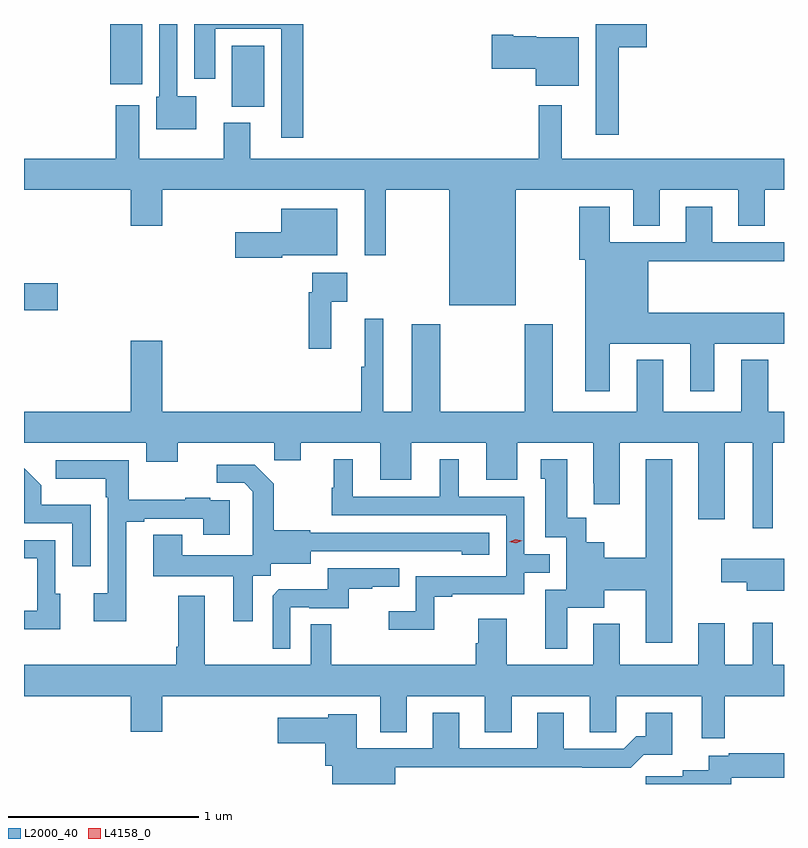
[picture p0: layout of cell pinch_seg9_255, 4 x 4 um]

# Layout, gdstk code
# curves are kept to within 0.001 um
import gdstk
lib = gdstk.Library(unit=1e-6, precision=1e-09)
def R(c, l, rs):  # rectangles x0, y0, x1, y1
    for r in rs: c.add(gdstk.rectangle(r[:2], r[2:], *l))
def P(c, l, *ps):  # polygons
    for p in ps: c.add(gdstk.Polygon(p, *l))
L2000_40 = (2000, 40)
L4158_0 = (4158, 0)

pinch_seg9_255 = lib.new_cell('pinch_seg9_255')
R(pinch_seg9_255, L2000_40, [(452.157,1213.103,452.335,1213.245), (453.251,1214.174,453.421,1214.494), (452.612,1214.291,452.779,1214.609)])
P(pinch_seg9_255, L2000_40, [(453.064,1214.23),(452.964,1214.23),(452.964,1214.609),(452.868,1214.609),(452.868,1214.226),(452.852,1214.226),(452.852,1214.054),(453.064,1214.054)],
  [(453.626,1214.609),(453.053,1214.609),(453.053,1214.322),(453.163,1214.322),(453.163,1214.583),(453.51,1214.583),(453.51,1214.01),(453.626,1214.01)],
  [(455.287,1214.486),(455.434,1214.486),(455.434,1214.609),(455.165,1214.609),(455.165,1214.025),(455.287,1214.025)],
  [(455.077,1214.539),(454.854,1214.539),(454.854,1214.545),(454.732,1214.545),(454.732,1214.552),(454.62,1214.552),(454.62,1214.374),(454.85,1214.374),(454.85,1214.285),(455.077,1214.285)],
  [(454.744,1213.736),(455.363,1213.736),(455.363,1213.546),(455.503,1213.546),(455.503,1213.736),(455.915,1213.736),(455.915,1213.546),(456.055,1213.546),(456.055,1213.736),(456.157,1213.736),(456.157,1213.9),(454.987,1213.9),(454.987,1214.182),(454.866,1214.182),(454.866,1213.9),(453.349,1213.9),(453.349,1214.089),(453.209,1214.089),(453.209,1213.9),(452.764,1213.9),(452.764,1214.182),(452.639,1214.182),(452.639,1213.9),(452.157,1213.9),(452.157,1213.736),(452.72,1213.736),(452.72,1213.548),(452.884,1213.548),(452.884,1213.736),(453.95,1213.736),(453.95,1213.392),(454.06,1213.392),(454.06,1213.736),(454.394,1213.736),(454.394,1213.13),(454.744,1213.13)],
  [(455.239,1212.926),(455.663,1212.926),(455.663,1212.675),(455.791,1212.675),(455.791,1212.926),(456.157,1212.926),(456.157,1213.09),(455.443,1213.09),(455.443,1213.36),(456.157,1213.36),(456.157,1213.461),(455.779,1213.461),(455.779,1213.648),(455.639,1213.648),(455.639,1213.461),(455.239,1213.461),(455.239,1213.648),(455.08,1213.648),(455.08,1213.368),(455.111,1213.368),(455.111,1212.675),(455.239,1212.675)],
  [(453.516,1213.391),(453.805,1213.391),(453.805,1213.636),(453.512,1213.636),(453.512,1213.513),(453.27,1213.513),(453.27,1213.379),(453.516,1213.379)],
  [(453.773,1213.148),(453.859,1213.148),(453.859,1213.3),(453.675,1213.3),(453.675,1213.196),(453.655,1213.196),(453.655,1212.9),(453.773,1212.9)],
  [(454.048,1213.057),(453.95,1213.057),(453.95,1212.804),(453.931,1212.804),(453.931,1212.568),(452.884,1212.568),(452.884,1212.943),(452.72,1212.943),(452.72,1212.568),(452.157,1212.568),(452.157,1212.404),(452.801,1212.404),(452.801,1212.305),(452.965,1212.305),(452.965,1212.404),(453.475,1212.404),(453.475,1212.314),(453.613,1212.314),(453.613,1212.404),(454.031,1212.404),(454.031,1212.21),(454.195,1212.21),(454.195,1212.404),(454.589,1212.404),(454.589,1212.21),(454.753,1212.21),(454.753,1212.404),(455.153,1212.404),(455.153,1212.193),(455.156,1212.193),(455.156,1212.081),(455.293,1212.081),(455.293,1212.404),(455.705,1212.404),(455.705,1212.003),(455.845,1212.003),(455.845,1212.404),(455.993,1212.404),(455.993,1211.955),(456.097,1211.955),(456.097,1212.404),(456.157,1212.404),(456.157,1212.568),(456.073,1212.568),(456.073,1212.841),(455.933,1212.841),(455.933,1212.568),(455.521,1212.568),(455.521,1212.841),(455.381,1212.841),(455.381,1212.568),(454.939,1212.568),(454.939,1213.03),(454.792,1213.03),(454.792,1212.568),(454.347,1212.568),(454.347,1213.03),(454.199,1213.03),(454.199,1212.568),(454.048,1212.568)],
  [(455.017,1211.537),(455.212,1211.537),(455.212,1211.629),(455.429,1211.629),(455.429,1211.352),(455.569,1211.352),(455.569,1212.319),(455.429,1212.319),(455.429,1211.801),(455.212,1211.801),(455.212,1211.881),(455.115,1211.881),(455.115,1212.011),(455.017,1212.011),(455.017,1212.319),(454.877,1212.319),(454.877,1212.216),(454.901,1212.216),(454.901,1211.907),(455.01,1211.907),(455.01,1211.631),(454.901,1211.631),(454.901,1211.322),(455.017,1211.322)],
  [(454.317,1211.595),(454.411,1211.595),(454.411,1211.607),(454.791,1211.607),(454.791,1211.721),(454.924,1211.721),(454.924,1211.817),(454.791,1211.817),(454.791,1212.12),(454.444,1212.12),(454.444,1212.319),(454.346,1212.319),(454.346,1212.12),(453.886,1212.12),(453.886,1212.319),(453.788,1212.319),(453.788,1212.168),(453.777,1212.168),(453.777,1212.024),(454.695,1212.024),(454.695,1211.703),(454.218,1211.703),(454.218,1211.518),(454.077,1211.518),(454.077,1211.42),(454.317,1211.42)],
  [(452.695,1211.988),(452.791,1211.988),(452.791,1212.006),(453.101,1212.006),(453.101,1211.922),(453.241,1211.922),(453.241,1212.102),(453.137,1212.102),(453.137,1212.115),(453.005,1212.115),(453.005,1212.104),(452.707,1212.104),(452.707,1212.312),(452.325,1212.312),(452.325,1212.215),(452.586,1212.215),(452.586,1212.119),(452.598,1212.119),(452.598,1211.614),(452.523,1211.614),(452.523,1211.466),(452.695,1211.466)],
  [(453.361,1211.704),(453.456,1211.704),(453.456,1211.768),(453.667,1211.768),(453.667,1211.835),(454.461,1211.834),(454.461,1211.816),(454.606,1211.816),(454.606,1211.931),(453.663,1211.931),(453.663,1211.944),(453.471,1211.944),(453.471,1212.189),(453.371,1212.289),(453.171,1212.289),(453.171,1212.195),(453.315,1212.195),(453.362,1212.148),(453.362,1212.053),(453.36,1212.053),(453.36,1211.812),(452.989,1211.812),(452.989,1211.921),(452.837,1211.921),(452.837,1211.702),(453.257,1211.702),(453.257,1211.466),(453.361,1211.466)],
  [(452.508,1212.079),(452.247,1212.079),(452.247,1212.182),(452.157,1212.271),(452.157,1211.982),(452.412,1211.982),(452.412,1211.754),(452.508,1211.754)],
  [(452.347,1211.61),(452.322,1211.61),(452.322,1211.892),(452.157,1211.892),(452.157,1211.796),(452.226,1211.796),(452.226,1211.52),(452.157,1211.52),(452.157,1211.423),(452.347,1211.423)],
  [(456.157,1211.794),(455.826,1211.794),(455.826,1211.672),(455.96,1211.672),(455.96,1211.627),(456.157,1211.627)],
  [(453.558,1211.538),(453.658,1211.538),(453.658,1211.535),(453.866,1211.535),(453.866,1211.637),(453.989,1211.637),(453.989,1211.648),(454.133,1211.648),(454.133,1211.745),(453.756,1211.745),(453.756,1211.633),(453.497,1211.633),(453.465,1211.601),(453.465,1211.321),(453.558,1211.321)],
  [(455.274,1211.072),(455.723,1211.072),(455.723,1210.851),(455.845,1210.851),(455.845,1211.072),(456.157,1211.072),(456.157,1211.236),(456.097,1211.236),(456.097,1211.458),(455.993,1211.458),(455.993,1211.236),(455.845,1211.236),(455.845,1211.455),(455.705,1211.455),(455.705,1211.236),(455.293,1211.236),(455.293,1211.452),(455.153,1211.452),(455.153,1211.236),(454.699,1211.236),(454.699,1211.479),(454.547,1211.479),(454.547,1211.349),(454.535,1211.349),(454.535,1211.236),(453.775,1211.236),(453.775,1211.45),(453.666,1211.45),(453.666,1211.236),(453.109,1211.236),(453.109,1211.599),(452.969,1211.599),(452.969,1211.332),(452.957,1211.332),(452.957,1211.236),(452.157,1211.236),(452.157,1211.072),(452.72,1211.072),(452.72,1210.884),(452.884,1210.884),(452.884,1211.072),(454.031,1211.072),(454.031,1210.882),(454.171,1210.882),(454.171,1211.072),(454.583,1211.072),(454.583,1210.882),(454.723,1210.882),(454.723,1211.072),(455.135,1211.072),(455.135,1210.882),(455.274,1210.882)],
  [(454.111,1210.696),(455.095,1210.696),(455.095,1210.694),(455.351,1210.694),(455.42,1210.763),(455.569,1210.763),(455.569,1210.984),(455.429,1210.984),(455.429,1210.861),(455.38,1210.861),(455.313,1210.794),(454.999,1210.794),(454.999,1210.984),(454.859,1210.984),(454.859,1210.797),(454.447,1210.797),(454.447,1210.984),(454.307,1210.984),(454.307,1210.797),(453.907,1210.797),(453.907,1210.975),(453.759,1210.975),(453.759,1210.957),(453.492,1210.957),(453.492,1210.823),(453.743,1210.823),(453.743,1210.704),(453.779,1210.704),(453.779,1210.609),(454.111,1210.609)],
  [(455.879,1210.642),(456.157,1210.642),(456.157,1210.771),(455.866,1210.771),(455.866,1210.758),(455.762,1210.758),(455.762,1210.681),(455.624,1210.681),(455.624,1210.649),(455.43,1210.649),(455.43,1210.609),(455.879,1210.609)])
P(pinch_seg9_255, L4158_0, [(454.746,1211.876),(454.711,1211.884),(454.711,1211.884),(454.711,1211.884),(454.744,1211.896),(454.78,1211.889),(454.78,1211.889),(454.78,1211.889)])

lib.write_gds('pinch_seg9_255.gds')
